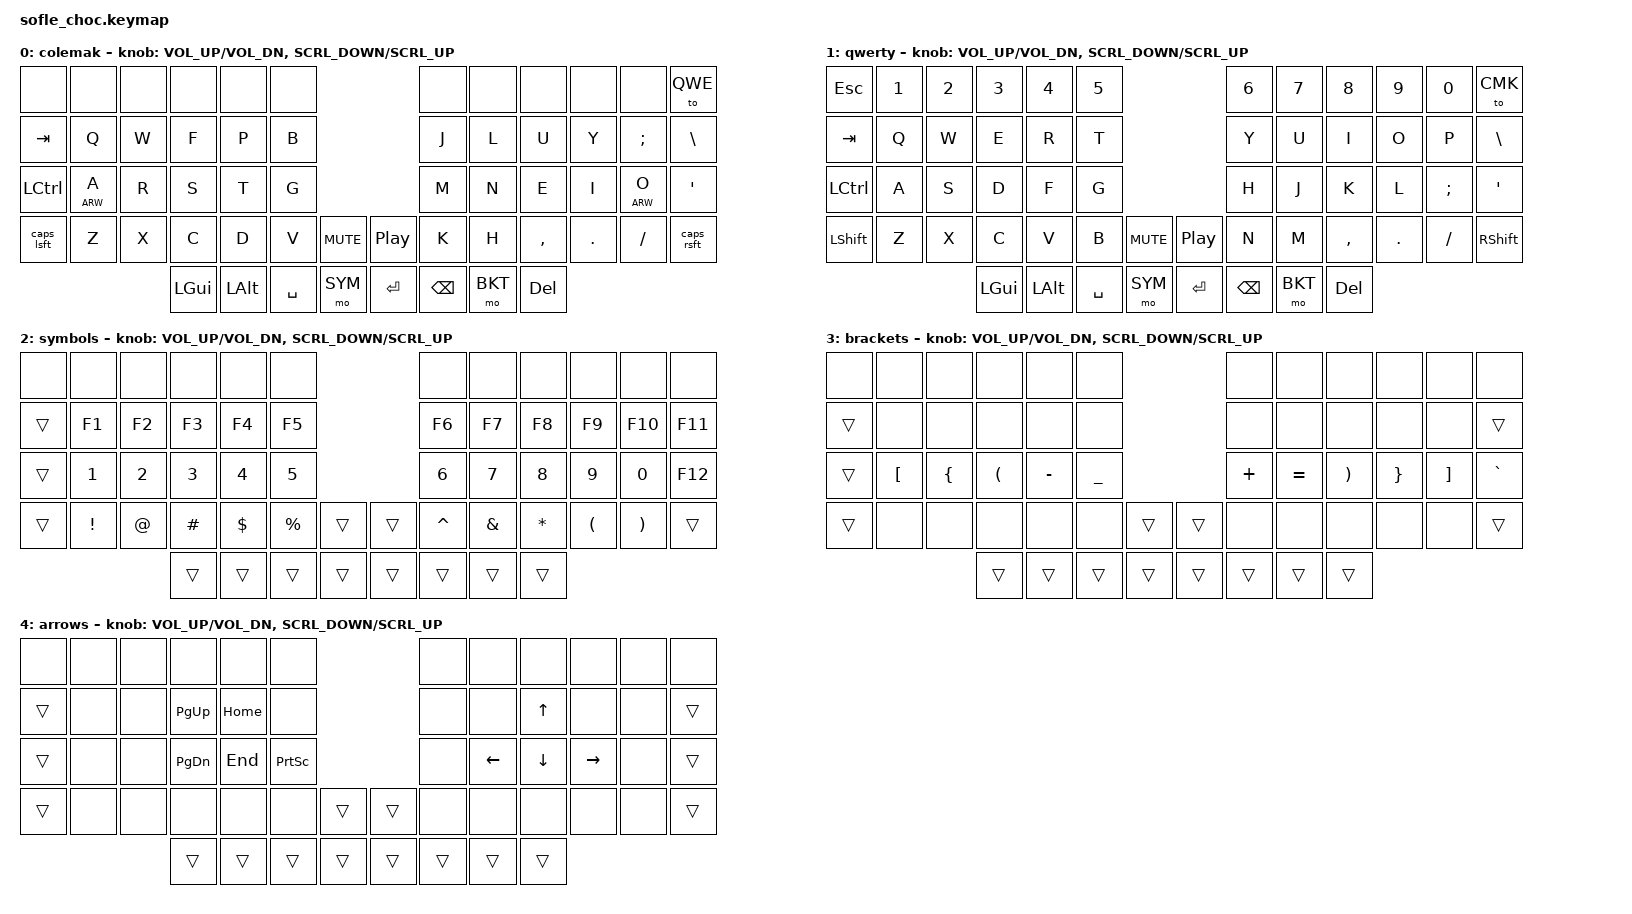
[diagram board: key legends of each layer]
/*
 * Sofle Choc keymap - ported from the QMK sofle_choc:default keymap.
 *
 * Non-base layers use &none for unmapped positions so a mispress while
 * holding a layer sends nothing. Deliberate &trans exceptions: 
 * - Thumb cluster (50-57)
 * - Encoders: Mute/Play (42, 43)
 * - Outer columns: Ctrl (24), shifts (36, 49), Tab (12).
 * - Position 11 (Layout switch) is NOT &trans - a stray press while holding a layer would silently swap the layout.
 *
 * SPDX-License-Identifier: MIT
 */

#include <behaviors.dtsi>
#include <dt-bindings/zmk/keys.h>
#include <dt-bindings/zmk/pointing.h>

#define CMK 0
#define QWE 1
#define SYM 2
#define BKT 3
#define ARW 4

/ {
    behaviors {
        // Arrow-layer hold, bound to both pinky home-row keys (A and O). Both
        // are high-frequency letters, so several guards keep a typed letter
        // from resolving as a layer hold:
        //
        // - balanced flavor: another key pressed *and released* while A/O is
        //   held means hold, so a quick "hold A, tap Down" engages without
        //   waiting for the tapping term. A roll (press A, press N, release
        //   A, release N) stays a tap. hold-preferred would turn word-initial
        //   "and"/"of" into arrows; tap-preferred always waits the full term.
        // - hold-trigger-key-positions gates the hold to the opposite hand's
        //   nav keys: releasing anything else first is a tap. This covers the
        //   word-initial case - the A in "around" taps because R is not a nav
        //   position. Cost: reaching a nav key on the same hand as the trigger
        //   (A -> Home/End/PgUp/PgDn, O -> arrows) means holding past the
        //   tapping term first instead of chording. hold-trigger-on-release
        //   defers that check to the first key release.
        // - require-prior-idle-ms forces an immediate tap when A/O is pressed
        //   within the window of the previous key. At 50 it only catches very
        //   fast rolls (~240wpm), trading mid-word protection for arrows being
        //   reachable almost straight after typing. At 150 the O in "around"
        //   was still resolving as a hold at slower speeds; raise it again if
        //   mid-word misfires come back.
        // - tapping-term-ms is the backstop: held past it with nothing else
        //   pressed, it is a hold. It is also the lag before a held arrow
        //   starts repeating and before same-hand nav works. Lower it if the
        //   layer feels slow; raise it if slow typing of A/O misfires.
        //
        // quick-tap-ms lets a doubled letter type through.
        lt_arw_l: layer_tap_arrow_left {
            compatible = "zmk,behavior-hold-tap";
            #binding-cells = <2>;
            flavor = "balanced";
            tapping-term-ms = <250>;
            require-prior-idle-ms = <50>;
            quick-tap-ms = <150>;
            bindings = <&mo>, <&kp>;
            hold-trigger-key-positions = <20 31 32 33>;  // Up, Left, Down, Right
            hold-trigger-on-release;
        };

        lt_arw_r: layer_tap_arrow_right {
            compatible = "zmk,behavior-hold-tap";
            #binding-cells = <2>;
            flavor = "balanced";
            tapping-term-ms = <250>;
            require-prior-idle-ms = <50>;
            quick-tap-ms = <150>;
            bindings = <&mo>, <&kp>;
            hold-trigger-key-positions = <15 16 27 28 29>;  // PgUp, Home, PgDn, End, PrtScn
            hold-trigger-on-release;
        };

        // QMK BOTH_SHIFTS_TURNS_ON_CAPS_WORD: each shift morphs into caps word
        // when the other shift is already held. No timing window, unlike a combo.
        caps_lsft: caps_lsft {
            compatible = "zmk,behavior-mod-morph";
            #binding-cells = <0>;
            bindings = <&kp LSHFT>, <&caps_word>;
            mods = <(MOD_RSFT)>;
        };

        caps_rsft: caps_rsft {
            compatible = "zmk,behavior-mod-morph";
            #binding-cells = <0>;
            bindings = <&kp RSHFT>, <&caps_word>;
            mods = <(MOD_LSFT)>;
        };

        // Encoder rotation -> mouse scroll (QMK KC_MS_WH_UP/DOWN).
        enc_scroll: encoder_scroll {
            compatible = "zmk,behavior-sensor-rotate-var";
            #sensor-binding-cells = <2>;
            bindings = <&msc>, <&msc>;
        };
    };

    combos {
        compatible = "zmk,combos";

        // Esc on F+P: "fp" is not an English bigram, so this cannot fire during
        // normal typing. No require-prior-idle-ms - Esc is usually pressed the
        // instant typing stops, which that guard would block. Colemak only: the
        // same positions are R/T on qwerty, whose gaming use would misfire it.
        // The window is 40ms (vs the 50ms default) because F is deferred while
        // the combo is a live candidate - the window is the worst-case lag on
        // every f typed on this layer.
        combo_esc {
            timeout-ms = <40>;
            key-positions = <15 16>;
            bindings = <&kp ESC>;
            layers = <CMK>;
        };
    };

    keymap {
        compatible = "zmk,keymap";

        colemak_dh {
            display-name = "colemak";
// Top row unbound: numbers live on SYM, Esc is the F+P combo; only the
// layout switch is kept.
// .-----.-----.-----.-----.-----.-----.               .-----.-----.-----.-----.-----.-----.
// |     |     |     |     |     |     |               |     |     |     |     |     | >QWE|
// :-----+-----+-----+-----+-----+-----:               :-----+-----+-----+-----+-----+-----:
// | Tab |  Q  |  W  |  F  |  P  |  B  |               |  J  |  L  |  U  |  Y  |  ;  |  \  |
// :-----+-----+-----+-----+-----+-----:               :-----+-----+-----+-----+-----+-----:
// | Ctrl|A/ARW|  R  |  S  |  T  |  G  |               |  M  |  N  |  E  |  I  |O/ARW|  '  |
// :-----+-----+-----+-----+-----+-----:-----.   .-----:-----+-----+-----+-----+-----+-----:
// |Shift|  Z  |  X  |  C  |  D  |  V  | Mute|   | Play|  K  |  H  |  ,  |  .  |  /  |Shift|
// '-----+-----+-----+-----+-----+-----+-----'   '-----+-----+-----+-----+-----+-----+-----'
//                   | GUI | Alt |Space| SYM |   | Ent | Bspc| BKT | Del |
//                   '-----'-----'-----'-----'   '-----'-----'-----'-----'
            bindings = <
&none     &none      &none    &none    &none    &none                             &none     &none    &none     &none   &none         &to QWE
&kp TAB   &kp Q      &kp W    &kp F    &kp P    &kp B                             &kp J     &kp L    &kp U     &kp Y   &kp SEMI      &kp BSLH
&kp LCTRL &lt_arw_l ARW A &kp R &kp S  &kp T    &kp G                             &kp M     &kp N    &kp E     &kp I   &lt_arw_r ARW O &kp SQT
&caps_lsft &kp Z     &kp X    &kp C    &kp D    &kp V     &kp C_MUTE   &kp C_PP   &kp K     &kp H    &kp COMMA &kp DOT &kp FSLH      &caps_rsft
                              &kp LGUI  &kp LALT &kp SPACE &mo SYM     &kp RET    &kp BSPC  &mo BKT  &kp DEL
            >;

            sensor-bindings = <&inc_dec_kp C_VOL_UP C_VOL_DN &enc_scroll SCRL_DOWN SCRL_UP>;
        };

        qwerty {
            display-name = "qwerty";
// Gaming layer: plain keycodes only - games hold and mash keys in ways that
// trip every timing-based behavior. &mo layer holds are fine (no timing).
// .-----.-----.-----.-----.-----.-----.               .-----.-----.-----.-----.-----.-----.
// | Esc |  1  |  2  |  3  |  4  |  5  |               |  6  |  7  |  8  |  9  |  0  | >CMK|
// :-----+-----+-----+-----+-----+-----:               :-----+-----+-----+-----+-----+-----:
// | Tab |  Q  |  W  |  E  |  R  |  T  |               |  Y  |  U  |  I  |  O  |  P  |  \  |
// :-----+-----+-----+-----+-----+-----:               :-----+-----+-----+-----+-----+-----:
// | Ctrl|  A  |  S  |  D  |  F  |  G  |               |  H  |  J  |  K  |  L  |  ;  |  '  |
// :-----+-----+-----+-----+-----+-----:-----.   .-----:-----+-----+-----+-----+-----+-----:
// |Shift|  Z  |  X  |  C  |  V  |  B  | Mute|   | Play|  N  |  M  |  ,  |  .  |  /  |Shift|
// '-----+-----+-----+-----+-----+-----+-----'   '-----+-----+-----+-----+-----+-----+-----'
//                   | GUI | Alt |Space| SYM |   | Ent | Bspc| BKT | Del |
//                   '-----'-----'-----'-----'   '-----'-----'-----'-----'
            bindings = <
&kp ESC   &kp N1     &kp N2   &kp N3   &kp N4   &kp N5                            &kp N6    &kp N7   &kp N8    &kp N9  &kp N0        &to CMK
&kp TAB   &kp Q      &kp W    &kp E    &kp R    &kp T                             &kp Y     &kp U    &kp I     &kp O   &kp P         &kp BSLH
&kp LCTRL &kp A      &kp S    &kp D    &kp F    &kp G                             &kp H     &kp J    &kp K     &kp L   &kp SEMI      &kp SQT
&kp LSHFT &kp Z      &kp X    &kp C    &kp V    &kp B     &kp C_MUTE   &kp C_PP   &kp N     &kp M    &kp COMMA &kp DOT &kp FSLH      &kp RSHFT
                              &kp LGUI  &kp LALT &kp SPACE &mo SYM     &kp RET    &kp BSPC  &mo BKT  &kp DEL
            >;

            sensor-bindings = <&inc_dec_kp C_VOL_UP C_VOL_DN &enc_scroll SCRL_DOWN SCRL_UP>;
        };

        symbols {
            display-name = "symbols";
// .-----.-----.-----.-----.-----.-----.               .-----.-----.-----.-----.-----.-----.
// |     |     |     |     |     |     |               |     |     |     |     |     |     |
// :-----+-----+-----+-----+-----+-----:               :-----+-----+-----+-----+-----+-----:
// |  ~  |  F1 |  F2 |  F3 |  F4 |  F5 |               |  F6 |  F7 |  F8 |  F9 | F10 | F11 |
// :-----+-----+-----+-----+-----+-----:               :-----+-----+-----+-----+-----+-----:
// |  ~  |  1  |  2  |  3  |  4  |  5  |               |  6  |  7  |  8  |  9  |  0  | F12 |
// :-----+-----+-----+-----+-----+-----:-----.   .-----:-----+-----+-----+-----+-----+-----:
// |  ~  |  !  |  @  |  #  |  $  |  %  |  ~  |   |  ~  |  ^  |  &  |  *  |  (  |  )  |  ~  |
// '-----+-----+-----+-----+-----+-----+-----'   '-----+-----+-----+-----+-----+-----+-----'
//                   |  ~  |  ~  |  ~  |  ~  |   |  ~  |  ~  |  ~  |  ~  |
//                   '-----'-----'-----'-----'   '-----'-----'-----'-----'
            bindings = <
&none      &none        &none        &none        &none        &none                       &none     &none    &none     &none    &none    &none
&trans     &kp F1       &kp F2       &kp F3       &kp F4       &kp F5                      &kp F6    &kp F7   &kp F8    &kp F9   &kp F10  &kp F11
&trans     &kp N1       &kp N2       &kp N3       &kp N4       &kp N5                      &kp N6    &kp N7   &kp N8    &kp N9   &kp N0   &kp F12
&trans     &kp EXCL     &kp AT       &kp HASH     &kp DLLR     &kp PRCNT   &trans  &trans  &kp CARET &kp AMPS &kp ASTRK &kp LPAR &kp RPAR &trans
                                     &trans       &trans       &trans      &trans  &trans  &trans    &trans   &trans
            >;

            sensor-bindings = <&inc_dec_kp C_VOL_UP C_VOL_DN &enc_scroll SCRL_DOWN SCRL_UP>;
        };

        brackets {
            display-name = "brackets";
// home row: [{(-_+=)}]`  (tilde omitted - shift+grave is easier than a detour)
// .-----.-----.-----.-----.-----.-----.               .-----.-----.-----.-----.-----.-----.
// |     |     |     |     |     |     |               |     |     |     |     |     |     |
// :-----+-----+-----+-----+-----+-----:               :-----+-----+-----+-----+-----+-----:
// |  ~  |     |     |     |     |     |               |     |     |     |     |     |  ~  |
// :-----+-----+-----+-----+-----+-----:               :-----+-----+-----+-----+-----+-----:
// |  ~  |  [  |  {  |  (  |  -  |  _  |               |  +  |  =  |  )  |  }  |  ]  |  `  |
// :-----+-----+-----+-----+-----+-----:-----.   .-----:-----+-----+-----+-----+-----+-----:
// |  ~  |     |     |     |     |     |  ~  |   |  ~  |     |     |     |     |     |  ~  |
// '-----+-----+-----+-----+-----+-----+-----'   '-----+-----+-----+-----+-----+-----+-----'
//                   |  ~  |  ~  |  ~  |  ~  |   |  ~  |  ~  |  ~  |  ~  |
//                   '-----'-----'-----'-----'   '-----'-----'-----'-----'
            bindings = <
&none  &none    &none    &none    &none     &none                        &none    &none     &none    &none    &none    &none
&trans &none    &none    &none    &none     &none                        &none    &none     &none    &none    &none    &trans
&trans &kp LBKT &kp LBRC &kp LPAR &kp MINUS &kp UNDER                    &kp PLUS &kp EQUAL &kp RPAR &kp RBRC &kp RBKT &kp GRAVE
&trans &none    &none    &none    &none     &none      &trans   &trans   &none    &none     &none    &none    &none    &trans
                         &trans   &trans    &trans     &trans   &trans   &trans   &trans    &trans
            >;

            sensor-bindings = <&inc_dec_kp C_VOL_UP C_VOL_DN &enc_scroll SCRL_DOWN SCRL_UP>;
        };

        arrows {
            display-name = "arrows";
// inverted-T on right hand, page/home/end on left. No reset keys (both halves
// have physical reset buttons) and no &bt/&out keys (the USB-only dongle has
// no host bond to clear or output to toggle; split pairing is reset by
// flashing settings_reset from build.yaml).
// .-----.-----.-----.-----.-----.-----.               .-----.-----.-----.-----.-----.-----.
// |     |     |     |     |     |     |               |     |     |     |     |     |     |
// :-----+-----+-----+-----+-----+-----:               :-----+-----+-----+-----+-----+-----:
// |  ~  |     |     | PgUp| Home|     |               |     |     |  Up |     |     |  ~  |
// :-----+-----+-----+-----+-----+-----:               :-----+-----+-----+-----+-----+-----:
// |  ~  |     |     | PgDn| End | PrSc|               |     | Left| Down| Rght|     |  ~  |
// :-----+-----+-----+-----+-----+-----:-----.   .-----:-----+-----+-----+-----+-----+-----:
// |  ~  |     |     |     |     |     |  ~  |   |  ~  |     |     |     |     |     |  ~  |
// '-----+-----+-----+-----+-----+-----+-----'   '-----+-----+-----+-----+-----+-----+-----'
//                   |  ~  |  ~  |  ~  |  ~  |   |  ~  |  ~  |  ~  |  ~  |
//                   '-----'-----'-----'-----'   '-----'-----'-----'-----'
            bindings = <
&none       &none      &none  &none      &none     &none                     &none  &none    &none    &none     &none  &none
&trans      &none      &none  &kp PG_UP  &kp HOME  &none                     &none  &none    &kp UP   &none     &none  &trans
&trans      &none      &none  &kp PG_DN  &kp END   &kp PSCRN                     &none  &kp LEFT &kp DOWN &kp RIGHT &none  &trans
&trans      &none      &none  &none      &none     &none &trans  &trans  &none  &none    &none    &none     &none  &trans
                              &trans     &trans    &trans   &trans   &trans  &trans &trans   &trans
            >;

            sensor-bindings = <&inc_dec_kp C_VOL_UP C_VOL_DN &enc_scroll SCRL_DOWN SCRL_UP>;
        };
    };
};
